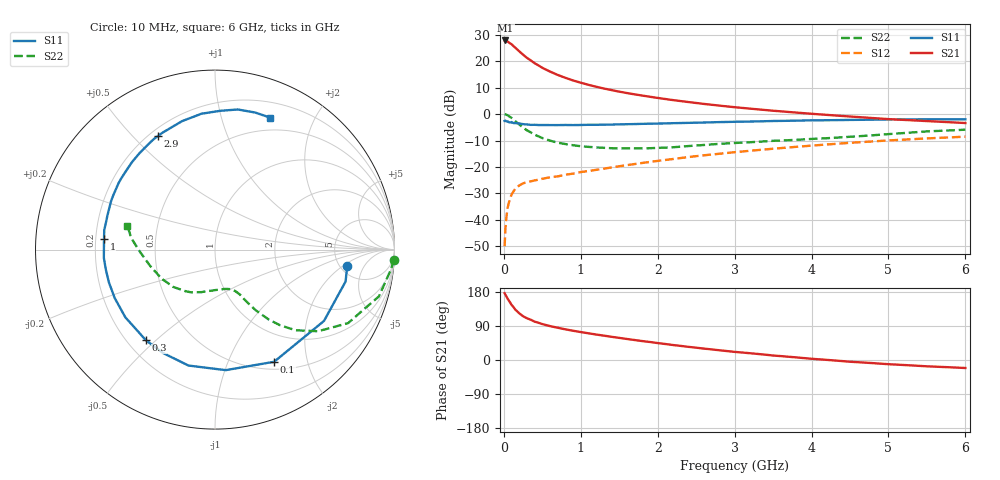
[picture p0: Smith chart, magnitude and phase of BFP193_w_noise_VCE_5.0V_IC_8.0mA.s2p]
! Infineon Technologies  Discrete & RF Semiconductors
! BFP193
! VCE =  5.0 V,  IC =  8.0 mA
! Common Emitter S-Parameters:  Jan 2017
# GHz  S  MA  R  50
!  f  S11  S21  S12  S22
! GHz  MAG  ANG  MAG  ANG  MAG  ANG  MAG  ANG
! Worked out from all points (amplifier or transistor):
!   77 points, 10 MHz to 6 GHz, reference 50 ohm
!   highest |S21| = 27.8 dB at 20 MHz (marker M1)
!   |S21| within 3 dB of that: start of sweep to 159.1 MHz
!   unconditionally stable (mu >= 1): 1.208 GHz to 2.611 GHz
!   at 130 MHz: K = 0.20, MSG = 27.3 dB, |S12| = -29.0 dB
!   at 2.2 GHz: K = 1.04, MAG = 9.9 dB, |S12| = -17.0 dB
!   at 6 GHz: K = 0.87, MSG = 2.6 dB, |S12| = -8.5 dB
!   lowest NFmin = 0.85 dB at 450 MHz
!   S11 on the Smith chart (normalised r, x): 10 MHz: 5.81, -2.30; 100 MHz: 0.60, -1.49; 300 MHz: 0.27, -0.46; 1 GHz: 0.23, +0.05; 2.9 GHz: 0.23, +0.59; 6 GHz: 0.36, +1.44
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0.01  0.7418 -6.9  24.42 176.2  0.0032 88.6  0.9999 -3.2
0.02  0.7491 -13.7  24.5 172.5  0.0066 88.9  0.9857 -6.6
0.05  0.7257 -33.2  23.38 161.4  0.0171 73.6  0.9499 -15.9
0.1  0.7065 -62.2  20.82 145.5  0.0302 63.3  0.8472 -28.9
0.15  0.6743 -84.9  17.83 132.7  0.0391 53.6  0.7323 -38.4
0.2  0.6627 -102.9  15.29 123.3  0.0448 47.6  0.6356 -45.0
0.25  0.6448 -116.8  13.19 115.5  0.0491 43.8  0.5561 -49.3
0.3  0.6349 -127.4  11.51 110.1  0.0517 42.0  0.493 -52.4
0.4  0.6259 -142.9  9.116 101.2  0.0557 39.6  0.4075 -56.1
0.5  0.6206 -154.3  7.47 94.8  0.0599 39.4  0.352 -58.2
0.6  0.6187 -162.9  6.335 89.5  0.064 39.9  0.3146 -59.8
0.7  0.6182 -169.6  5.472 85.1  0.0665 41.5  0.288 -60.9
0.9  0.6189 179.1  4.303 77.2  0.075 43.7  0.2576 -64.0
1  0.6212 174.4  3.903 73.7  0.0803 44.9  0.2468 -65.8
1.1  0.6266 170.0  3.563 70.5  0.0839 46.1  0.2399 -67.7
1.5  0.6385 155.3  2.647 58.4  0.1033 48.5  0.2247 -78.2
2.1  0.6653 136.4  1.921 42.2  0.1359 48.7  0.2323 -97.9
2.9  0.7084 116.6  1.394 23.6  0.1839 44.8  0.2785 -122.6
3.1  0.717 112.3  1.305 19.7  0.1962 43.3  0.2884 -128.0
4.1  0.7623 94.1  0.987 1.8  0.2596 34.7  0.3438 -154.6
5.1  0.791 79.3  0.788 -12.1  0.3229 23.8  0.4274 179.7
6  0.7966 67.5  0.676 -21.1  0.374 13.4  0.5063 164.7
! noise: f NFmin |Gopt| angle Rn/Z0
0.45  0.85  0.21  129  0.09
0.9  0.97  0.36  162  0.07
1.9  1.79  0.58  -148  0.12
2.4  2.19  0.64  -129  0.31
